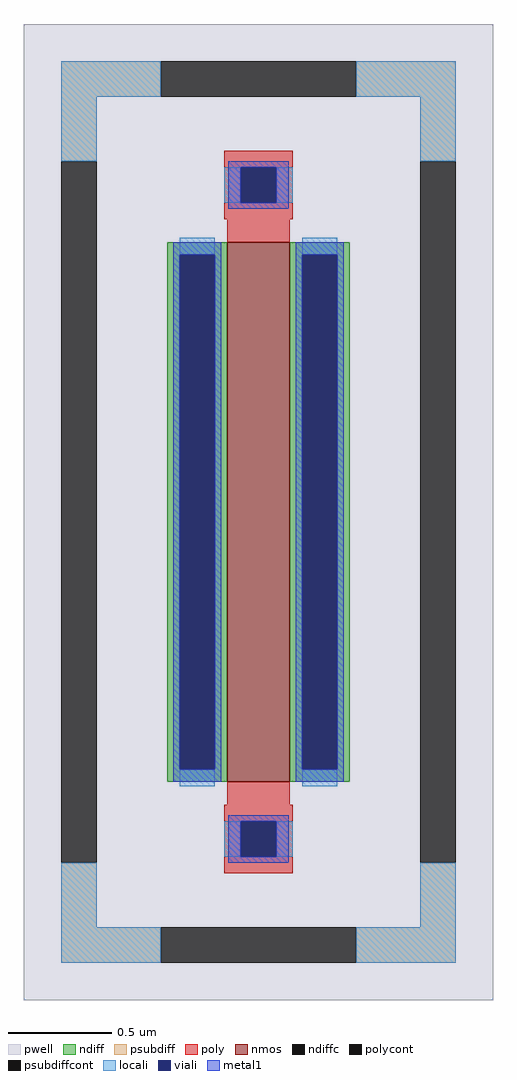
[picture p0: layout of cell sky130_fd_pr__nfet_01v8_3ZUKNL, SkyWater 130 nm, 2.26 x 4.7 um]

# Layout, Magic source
magic
tech sky130A
magscale 1 2
<< pwell >>
rect -226 -470 226 470
<< nmos >>
rect -30 -260 30 260
<< ndiff >>
rect -88 248 -30 260
rect -88 -248 -76 248
rect -42 -248 -30 248
rect -88 -260 -30 -248
rect 30 248 88 260
rect 30 -248 42 248
rect 76 -248 88 248
rect 30 -260 88 -248
<< ndiffc >>
rect -76 -248 -42 248
rect 42 -248 76 248
<< psubdiff >>
rect -190 400 -94 434
rect 94 400 190 434
rect -190 338 -156 400
rect 156 338 190 400
rect -190 -400 -156 -338
rect 156 -400 190 -338
rect -190 -434 -94 -400
rect 94 -434 190 -400
<< psubdiffcont >>
rect -94 400 94 434
rect -190 -338 -156 338
rect 156 -338 190 338
rect -94 -434 94 -400
<< poly >>
rect -33 332 33 348
rect -33 298 -17 332
rect 17 298 33 332
rect -33 282 33 298
rect -30 260 30 282
rect -30 -282 30 -260
rect -33 -298 33 -282
rect -33 -332 -17 -298
rect 17 -332 33 -298
rect -33 -348 33 -332
<< polycont >>
rect -17 298 17 332
rect -17 -332 17 -298
<< locali >>
rect -190 400 -94 434
rect 94 400 190 434
rect -190 338 -156 400
rect 156 338 190 400
rect -33 298 -17 332
rect 17 298 33 332
rect -76 248 -42 264
rect -76 -264 -42 -248
rect 42 248 76 264
rect 42 -264 76 -248
rect -33 -332 -17 -298
rect 17 -332 33 -298
rect -190 -400 -156 -338
rect 156 -400 190 -338
rect -190 -434 -94 -400
rect 94 -434 190 -400
<< viali >>
rect -17 298 17 332
rect -76 -248 -42 248
rect 42 -248 76 248
rect -17 -332 17 -298
<< metal1 >>
rect -29 332 29 338
rect -29 298 -17 332
rect 17 298 29 332
rect -29 292 29 298
rect -82 248 -36 260
rect -82 -248 -76 248
rect -42 -248 -36 248
rect -82 -260 -36 -248
rect 36 248 82 260
rect 36 -248 42 248
rect 76 -248 82 248
rect 36 -260 82 -248
rect -29 -298 29 -292
rect -29 -332 -17 -298
rect 17 -332 29 -298
rect -29 -338 29 -332
<< properties >>
string FIXED_BBOX -173 -417 173 417
string gencell sky130_fd_pr__nfet_01v8
string library sky130
string parameters w 2.6 l 0.3 m 1 nf 1 diffcov 100 polycov 100 guard 1 glc 1 grc 1 gtc 1 gbc 1 tbcov 100 rlcov 100 topc 1 botc 1 poverlap 0 doverlap 1 lmin 0.15 wmin 0.42 class mosfet compatible {sky130_fd_pr__nfet_01v8 sky130_fd_pr__nfet_01v8_lvt  sky130_fd_bs_flash__special_sonosfet_star  sky130_fd_pr__nfet_g5v0d10v5 sky130_fd_pr__nfet_05v0_nvt  sky130_fd_pr__nfet_03v3_nvt} full_metal 1 viasrc 100 viadrn 100 viagate 100 viagb 0 viagr 0 viagl 0 viagt 0
<< end >>
